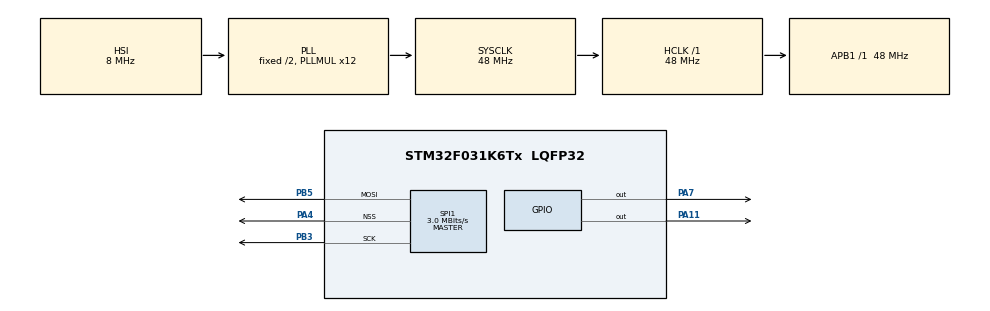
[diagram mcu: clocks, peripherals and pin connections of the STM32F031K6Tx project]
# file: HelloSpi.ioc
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Mcu.Family=STM32F0
Mcu.Name=STM32F031K6Tx
Mcu.Package=LQFP32
PA11.Signal=GPIO_Output
PA13.GPIO_Label=SWDIO
PA13.Signal=SYS_SWDIO
PA14.GPIO_Label=SWCLK
PA14.Signal=SYS_SWCLK
PA15.GPIO_Label=VCP_RX
PA15.Signal=USART1_RX
PA2.GPIO_Label=VCP_TX
PA2.Signal=USART1_TX
PA4.Mode=NSS_Signal_Hard_Output
PA4.Signal=SPI1_NSS
PA7.Signal=GPIO_Output
PB3.Mode=TX_Only_Simplex_Unidirect_Master
PB3.Signal=SPI1_SCK
PB5.Mode=TX_Only_Simplex_Unidirect_Master
PB5.Signal=SPI1_MOSI
PF0-OSC_IN.Signal=RCC_OSC_IN
ProjectManager.HeapSize=0x200
ProjectManager.StackSize=0x400
ProjectManager.TargetToolchain=SW4STM32
RCC.AHBFreq_Value=48000000
RCC.APB1Freq_Value=48000000
RCC.APB1TimFreq_Value=48000000
RCC.HCLKFreq_Value=48000000
RCC.PLLMUL=RCC_PLL_MUL12
RCC.SYSCLKFreq_VALUE=48000000
RCC.SYSCLKSource=RCC_SYSCLKSOURCE_PLLCLK
SPI1.BaudRatePrescaler=SPI_BAUDRATEPRESCALER_16
SPI1.CalculateBaudRate=3.0 MBits/s
SPI1.DataSize=SPI_DATASIZE_8BIT
SPI1.Direction=SPI_DIRECTION_2LINES
SPI1.Mode=SPI_MODE_MASTER
SPI1.VirtualNSS=VM_NSSHARD
SPI1.VirtualType=VM_MASTER
board=NUCLEO-F031K6

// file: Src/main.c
/**
  ******************************************************************************
  * File Name          : main.c
  * Description        : Main program body
  ******************************************************************************
  *
  * COPYRIGHT(c) 2017 STMicroelectronics
  *
  * Redistribution and use in source and binary forms, with or without modification,
  * are permitted provided that the following conditions are met:
  *   1. Redistributions of source code must retain the above copyright notice,
  *      this list of conditions and the following disclaimer.
  *   2. Redistributions in binary form must reproduce the above copyright notice,
  *      this list of conditions and the following disclaimer in the documentation
  *      and/or other materials provided with the distribution.
  *   3. Neither the name of STMicroelectronics nor the names of its contributors
  *      may be used to endorse or promote products derived from this software
  *      without specific prior written permission.
  *
  * THIS SOFTWARE IS PROVIDED BY THE COPYRIGHT HOLDERS AND CONTRIBUTORS "AS IS"
  * AND ANY EXPRESS OR IMPLIED WARRANTIES, INCLUDING, BUT NOT LIMITED TO, THE
  * IMPLIED WARRANTIES OF MERCHANTABILITY AND FITNESS FOR A PARTICULAR PURPOSE ARE
  * DISCLAIMED. IN NO EVENT SHALL THE COPYRIGHT HOLDER OR CONTRIBUTORS BE LIABLE
  * FOR ANY DIRECT, INDIRECT, INCIDENTAL, SPECIAL, EXEMPLARY, OR CONSEQUENTIAL
  * DAMAGES (INCLUDING, BUT NOT LIMITED TO, PROCUREMENT OF SUBSTITUTE GOODS OR
  * SERVICES; LOSS OF USE, DATA, OR PROFITS; OR BUSINESS INTERRUPTION) HOWEVER
  * CAUSED AND ON ANY THEORY OF LIABILITY, WHETHER IN CONTRACT, STRICT LIABILITY,
  * OR TORT (INCLUDING NEGLIGENCE OR OTHERWISE) ARISING IN ANY WAY OUT OF THE USE
  * OF THIS SOFTWARE, EVEN IF ADVISED OF THE POSSIBILITY OF SUCH DAMAGE.
  *
  ******************************************************************************
  */
#include "main.h"
#include "stm32f0xx_hal.h"
#include "spi.h"
#include "gpio.h"

/* USER CODE BEGIN PV */
/* Private variables ---------------------------------------------------------*/

/* USER CODE END PV */

void SystemClock_Config(void);
void Error_Handler(void);

/* USER CODE BEGIN PFP */
/* Private function prototypes -----------------------------------------------*/

/* USER CODE END PFP */

int main(void)
{

  /* USER CODE BEGIN 1 */
	uint8_t data = 0x55, i;
	HAL_StatusTypeDef status;

  /* USER CODE END 1 */

  /* MCU Configuration----------------------------------------------------------*/

  /* Reset of all peripherals, Initializes the Flash interface and the Systick. */
  HAL_Init();

  /* Configure the system clock */
  SystemClock_Config();

  /* Initialize all configured peripherals */
  MX_GPIO_Init();
  MX_SPI1_Init();

  /* USER CODE BEGIN 2 */
  /*config*/
  HAL_GPIO_WritePin(GPIOA, GPIO_PIN_7, GPIO_PIN_RESET);
  HAL_Delay(10);
  HAL_GPIO_WritePin(GPIOA, GPIO_PIN_7, GPIO_PIN_SET);

  HAL_GPIO_WritePin(GPIOA,GPIO_PIN_11,GPIO_PIN_RESET);//reset p1
  HAL_GPIO_WritePin(GPIOA,GPIO_PIN_11,GPIO_PIN_SET); //reset

//  HAL_GPIO_WritePin(GPIOA,GPIO_PIN_4,GPIO_PIN_RESET);//CE=0, enable
  HAL_GPIO_WritePin(GPIOA,GPIO_PIN_8,GPIO_PIN_RESET);//DC=0, command

  data = 0x21; // H=1, use extended instruction set
  status = HAL_SPI_Transmit(&hspi1, &data, sizeof(data), 1000);
  data = 0x14; //BS2=1, Bias System set
  status = HAL_SPI_Transmit(&hspi1, &data, sizeof(data), 1000);
  data = 0x80|0x3f; //Vop= number after OR, contrast?
  status = HAL_SPI_Transmit(&hspi1, &data, sizeof(data), 1000);

  data = 0x20; //PD, V, H =0, chip is active, horizontal addressing, use basic instruction set
  status = HAL_SPI_Transmit(&hspi1, &data, sizeof(data), 1000);

  data = 0x0c;//normal mode
  HAL_SPI_Transmit(&hspi1, &data, sizeof(data), 1000);

  data = 0x42; //set y
  HAL_SPI_Transmit(&hspi1, &data, sizeof(data), 1000);

  data = 0x80|0x2a; //set x
  HAL_SPI_Transmit(&hspi1, &data, sizeof(data), 1000);

  for(i=0; i<504;i++){
	  HAL_GPIO_WritePin(GPIOA, GPIO_PIN_8, GPIO_PIN_SET); //D=1,  write data
	  data = 0x0f;
	  HAL_SPI_Transmit(&hspi1, &data, sizeof(data), 1000);
  }

//  /*simple test*/
//  data = 0x09; //D=0 E=1, all segments on
//  status = HAL_SPI_Transmit(&hspi1, &data, sizeof(data), 1000);
//
//  HAL_Delay(250);
//
//  data = 0x08; //D=0 E=0, display blank
//  status = HAL_SPI_Transmit(&hspi1, &data, sizeof(data), 1000);
  /* USER CODE END 2 */

  /* Infinite loop */
  while (1)
  {

  }

}

/** System Clock Configuration
*/
void SystemClock_Config(void)
{

  RCC_OscInitTypeDef RCC_OscInitStruct;
  RCC_ClkInitTypeDef RCC_ClkInitStruct;

    /**Initializes the CPU, AHB and APB busses clocks
    */
  RCC_OscInitStruct.OscillatorType = RCC_OSCILLATORTYPE_HSI;
  RCC_OscInitStruct.HSIState = RCC_HSI_ON;
  RCC_OscInitStruct.HSICalibrationValue = 16;
  RCC_OscInitStruct.PLL.PLLState = RCC_PLL_ON;
  RCC_OscInitStruct.PLL.PLLSource = RCC_PLLSOURCE_HSI;
  RCC_OscInitStruct.PLL.PLLMUL = RCC_PLL_MUL12;
  RCC_OscInitStruct.PLL.PREDIV = RCC_PREDIV_DIV1;
  if (HAL_RCC_OscConfig(&RCC_OscInitStruct) != HAL_OK)
  {
    Error_Handler();
  }

    /**Initializes the CPU, AHB and APB busses clocks
    */
  RCC_ClkInitStruct.ClockType = RCC_CLOCKTYPE_HCLK|RCC_CLOCKTYPE_SYSCLK
                              |RCC_CLOCKTYPE_PCLK1;
  RCC_ClkInitStruct.SYSCLKSource = RCC_SYSCLKSOURCE_PLLCLK;
  RCC_ClkInitStruct.AHBCLKDivider = RCC_SYSCLK_DIV1;
  RCC_ClkInitStruct.APB1CLKDivider = RCC_HCLK_DIV1;

  if (HAL_RCC_ClockConfig(&RCC_ClkInitStruct, FLASH_LATENCY_1) != HAL_OK)
  {
    Error_Handler();
  }

    /**Configure the Systick interrupt time
    */
  HAL_SYSTICK_Config(HAL_RCC_GetHCLKFreq()/1000);

    /**Configure the Systick
    */
  HAL_SYSTICK_CLKSourceConfig(SYSTICK_CLKSOURCE_HCLK);

  /* SysTick_IRQn interrupt configuration */
  HAL_NVIC_SetPriority(SysTick_IRQn, 0, 0);
}

void Error_Handler(void)
{
  while(1)
  {
  }
}

/************************ (C) COPYRIGHT STMicroelectronics *****END OF FILE****/
